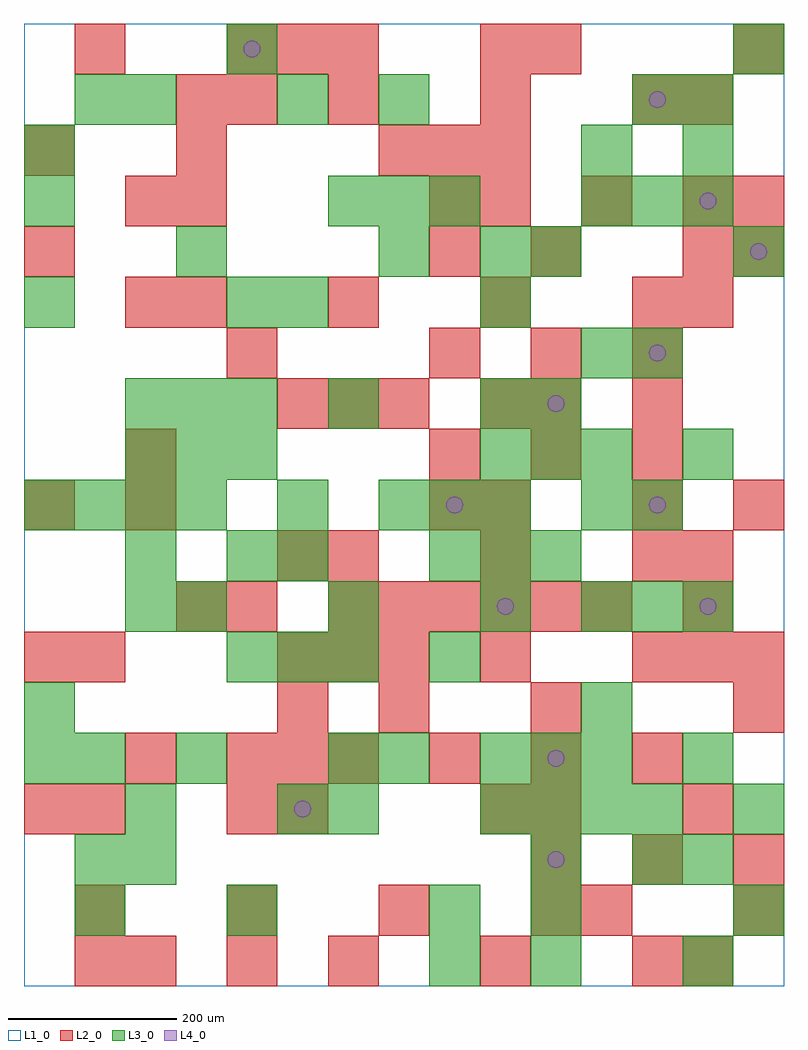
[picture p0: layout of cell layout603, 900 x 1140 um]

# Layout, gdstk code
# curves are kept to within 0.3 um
import gdstk
lib = gdstk.Library(unit=1e-6, precision=1e-09)
def R(c, l, rs):  # rectangles x0, y0, x1, y1
    for r in rs: c.add(gdstk.rectangle(r[:2], r[2:], *l))
def A(c, l, x, y, w, h, nx, ny, dx, dy):  # array of equal rectangles
    R(c, l, [(x+i*dx, y+j*dy, x+i*dx+w, y+j*dy+h) for i in range(nx) for j in range(ny)])
def P(c, l, *ps):  # polygons
    for p in ps: c.add(gdstk.Polygon(p, *l))
L1_0 = (1, 0)
L2_0 = (2, 0)
L3_0 = (3, 0)
L4_0 = (4, 0)

layout603 = lib.new_cell('layout603')
R(layout603, L1_0, [(0,0,900,1140)])
A(layout603, L2_0, 60, 0, 60, 60, 1, 3, 0, 180)
A(layout603, L2_0, 120, 0, 60, 60, 3, 1, 120, 0)
A(layout603, L2_0, 540, 0, 60, 60, 1, 4, 0, 180)
A(layout603, L2_0, 60, 60, 60, 60, 4, 1, 180, 0)
A(layout603, L2_0, 840, 60, 60, 60, 1, 3, 0, 240)
A(layout603, L2_0, 600, 120, 60, 60, 3, 1, 120, 0)
A(layout603, L2_0, 0, 180, 60, 60, 1, 3, 0, 180)
A(layout603, L2_0, 240, 240, 60, 60, 3, 2, 60, 840)
A(layout603, L2_0, 480, 240, 60, 60, 3, 2, 120, 360)
A(layout603, L2_0, 300, 360, 60, 60, 3, 2, 60, 300)
A(layout603, L2_0, 720, 360, 60, 60, 3, 1, 60, 0)
A(layout603, L2_0, 240, 420, 60, 60, 1, 3, 0, 300)
A(layout603, L2_0, 360, 420, 60, 60, 6, 1, 60, 0)
A(layout603, L2_0, 360, 480, 60, 60, 3, 2, 180, 540)
A(layout603, L2_0, 480, 720, 60, 60, 3, 1, 120, 0)
A(layout603, L2_0, 180, 780, 60, 60, 4, 1, 180, 0)
A(layout603, L2_0, 180, 900, 60, 60, 1, 3, 0, 60)
A(layout603, L2_0, 540, 900, 60, 60, 3, 1, 120, 0)
A(layout603, L2_0, 420, 960, 60, 60, 3, 1, 60, 0)
R(layout603, L2_0, [(720,0,780,60), (780,0,840,60), (660,60,720,120), (240,180,300,240), (300,180,360,240), (600,180,660,240), (780,180,840,240), (120,240,180,300), (300,300,360,360), (420,300,480,360), (600,300,660,360), (180,420,240,480), (780,420,840,480), (300,480,360,540), (780,480,840,540), (120,540,180,600), (480,540,540,600), (720,540,780,600), (120,600,180,660), (540,660,600,720), (600,660,660,720), (720,660,780,720), (120,780,180,840), (780,780,840,840), (0,840,60,900), (480,840,540,900), (600,840,660,900), (780,840,840,900), (840,840,900,900), (120,900,180,960), (480,900,540,960), (840,900,900,960), (0,960,60,1020), (780,1020,840,1080), (60,1080,120,1140), (540,1080,600,1140), (600,1080,660,1140), (840,1080,900,1140)])
A(layout603, L3_0, 600, 0, 60, 60, 1, 3, 0, 60)
A(layout603, L3_0, 780, 0, 60, 60, 1, 3, 0, 120)
A(layout603, L3_0, 540, 180, 60, 60, 4, 1, 60, 0)
A(layout603, L3_0, 540, 240, 60, 60, 3, 2, 60, 360)
A(layout603, L3_0, 240, 360, 60, 60, 3, 1, 60, 0)
A(layout603, L3_0, 180, 420, 60, 60, 3, 1, 180, 0)
A(layout603, L3_0, 660, 420, 60, 60, 3, 2, 60, 480)
A(layout603, L3_0, 240, 480, 60, 60, 1, 3, 0, 300)
A(layout603, L3_0, 480, 480, 60, 60, 3, 1, 60, 0)
A(layout603, L3_0, 0, 540, 60, 60, 4, 1, 60, 0)
A(layout603, L3_0, 300, 540, 60, 60, 1, 3, 0, 240)
A(layout603, L3_0, 420, 540, 60, 60, 3, 1, 60, 0)
A(layout603, L3_0, 120, 600, 60, 60, 3, 2, 60, 60)
A(layout603, L3_0, 360, 900, 60, 60, 3, 1, 60, 0)
R(layout603, L3_0, [(480,0,540,60), (60,60,120,120), (240,60,300,120), (480,60,540,120), (840,60,900,120), (60,120,120,180), (120,120,180,180), (720,120,780,180), (120,180,180,240), (300,180,360,240), (360,180,420,240), (840,180,900,240), (0,240,60,300), (60,240,120,300), (180,240,240,300), (360,240,420,300), (420,240,480,300), (0,300,60,360), (660,300,720,360), (480,360,540,420), (120,420,180,480), (120,480,180,540), (300,480,360,540), (660,540,720,600), (720,540,780,600), (780,600,840,660), (360,660,420,720), (540,660,600,720), (600,660,660,720), (660,720,720,780), (720,720,780,780), (0,780,60,840), (540,780,600,840), (180,840,240,900), (420,840,480,900), (540,840,600,900), (600,840,660,900), (840,840,900,900), (0,900,60,960), (0,960,60,1020), (660,960,720,1020), (780,960,840,1020), (60,1020,120,1080), (120,1020,180,1080), (420,1020,480,1080), (720,1020,780,1080), (780,1020,840,1080), (840,1080,900,1140)])
P(layout603, L4_0, [(280,1110),(279.239,1113.827),(277.071,1117.071),(273.827,1119.239),(270,1120),(266.173,1119.239),(262.929,1117.071),(260.761,1113.827),(260,1110),(260.761,1106.173),(262.929,1102.929),(266.173,1100.761),(270,1100),(273.827,1100.761),(277.071,1102.929),(279.239,1106.173)],
  [(340,210),(339.239,213.827),(337.071,217.071),(333.827,219.239),(330,220),(326.173,219.239),(322.929,217.071),(320.761,213.827),(320,210),(320.761,206.173),(322.929,202.929),(326.173,200.761),(330,200),(333.827,200.761),(337.071,202.929),(339.239,206.173)],
  [(520,570),(519.239,573.827),(517.071,577.071),(513.827,579.239),(510,580),(506.173,579.239),(502.929,577.071),(500.761,573.827),(500,570),(500.761,566.173),(502.929,562.929),(506.173,560.761),(510,560),(513.827,560.761),(517.071,562.929),(519.239,566.173)],
  [(580,450),(579.239,453.827),(577.071,457.071),(573.827,459.239),(570,460),(566.173,459.239),(562.929,457.071),(560.761,453.827),(560,450),(560.761,446.173),(562.929,442.929),(566.173,440.761),(570,440),(573.827,440.761),(577.071,442.929),(579.239,446.173)],
  [(640,150),(639.239,153.827),(637.071,157.071),(633.827,159.239),(630,160),(626.173,159.239),(622.929,157.071),(620.761,153.827),(620,150),(620.761,146.173),(622.929,142.929),(626.173,140.761),(630,140),(633.827,140.761),(637.071,142.929),(639.239,146.173)],
  [(640,270),(639.239,273.827),(637.071,277.071),(633.827,279.239),(630,280),(626.173,279.239),(622.929,277.071),(620.761,273.827),(620,270),(620.761,266.173),(622.929,262.929),(626.173,260.761),(630,260),(633.827,260.761),(637.071,262.929),(639.239,266.173)],
  [(640,690),(639.239,693.827),(637.071,697.071),(633.827,699.239),(630,700),(626.173,699.239),(622.929,697.071),(620.761,693.827),(620,690),(620.761,686.173),(622.929,682.929),(626.173,680.761),(630,680),(633.827,680.761),(637.071,682.929),(639.239,686.173)],
  [(760,570),(759.239,573.827),(757.071,577.071),(753.827,579.239),(750,580),(746.173,579.239),(742.929,577.071),(740.761,573.827),(740,570),(740.761,566.173),(742.929,562.929),(746.173,560.761),(750,560),(753.827,560.761),(757.071,562.929),(759.239,566.173)],
  [(760,750),(759.239,753.827),(757.071,757.071),(753.827,759.239),(750,760),(746.173,759.239),(742.929,757.071),(740.761,753.827),(740,750),(740.761,746.173),(742.929,742.929),(746.173,740.761),(750,740),(753.827,740.761),(757.071,742.929),(759.239,746.173)],
  [(760,1050),(759.239,1053.827),(757.071,1057.071),(753.827,1059.239),(750,1060),(746.173,1059.239),(742.929,1057.071),(740.761,1053.827),(740,1050),(740.761,1046.173),(742.929,1042.929),(746.173,1040.761),(750,1040),(753.827,1040.761),(757.071,1042.929),(759.239,1046.173)],
  [(820,450),(819.239,453.827),(817.071,457.071),(813.827,459.239),(810,460),(806.173,459.239),(802.929,457.071),(800.761,453.827),(800,450),(800.761,446.173),(802.929,442.929),(806.173,440.761),(810,440),(813.827,440.761),(817.071,442.929),(819.239,446.173)],
  [(820,930),(819.239,933.827),(817.071,937.071),(813.827,939.239),(810,940),(806.173,939.239),(802.929,937.071),(800.761,933.827),(800,930),(800.761,926.173),(802.929,922.929),(806.173,920.761),(810,920),(813.827,920.761),(817.071,922.929),(819.239,926.173)],
  [(880,870),(879.239,873.827),(877.071,877.071),(873.827,879.239),(870,880),(866.173,879.239),(862.929,877.071),(860.761,873.827),(860,870),(860.761,866.173),(862.929,862.929),(866.173,860.761),(870,860),(873.827,860.761),(877.071,862.929),(879.239,866.173)])

lib.write_gds('layout603.gds')
